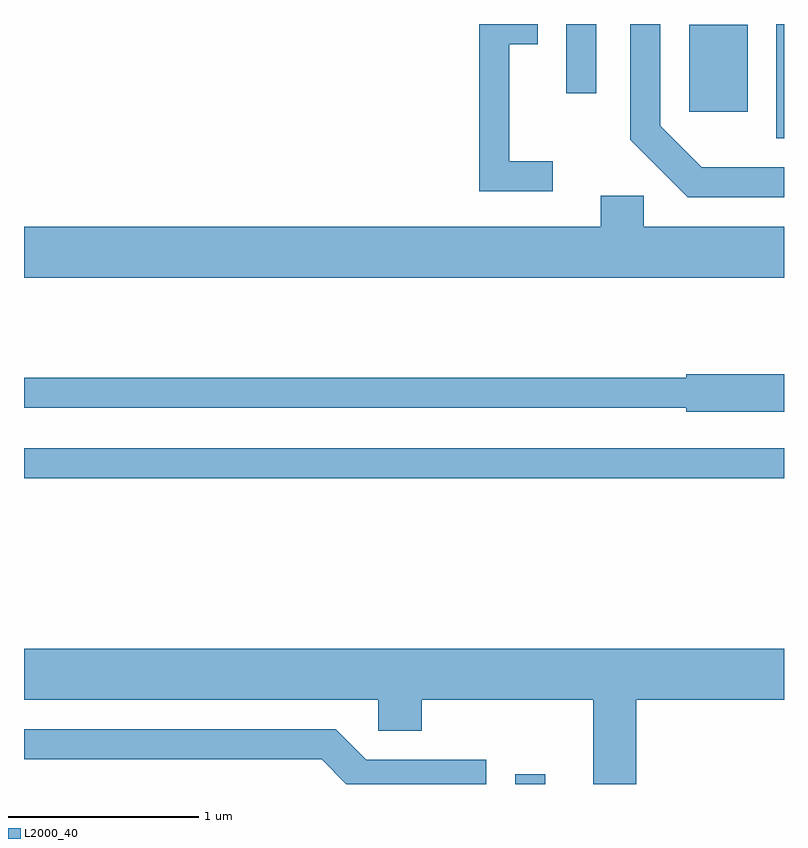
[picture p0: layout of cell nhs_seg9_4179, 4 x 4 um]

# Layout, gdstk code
import gdstk
lib = gdstk.Library(unit=1e-6, precision=1e-09)
def R(c, l, rs):  # rectangles x0, y0, x1, y1
    for r in rs: c.add(gdstk.rectangle(r[:2], r[2:], *l))
def P(c, l, *ps):  # polygons
    for p in ps: c.add(gdstk.Polygon(p, *l))
L2000_40 = (2000, 40)

nhs_seg9_4179 = lib.new_cell('nhs_seg9_4179')
R(nhs_seg9_4179, L2000_40, [(310.196,2042.432,310.354,2042.483), (307.611,2044.041,311.611,2044.199), (311.571,2045.831,311.611,2046.432), (311.111,2045.971,311.419,2046.429), (310.466,2046.068,310.624,2046.432)])
P(nhs_seg9_4179, L2000_40, [(310.393,2045.709),(310.164,2045.709),(310.164,2046.326),(310.314,2046.326),(310.314,2046.432),(310.006,2046.432),(310.006,2045.551),(310.393,2045.551)],
  [(311.611,2045.679),(311.177,2045.679),(310.959,2045.897),(310.959,2046.432),(310.801,2046.432),(310.801,2045.824),(311.104,2045.521),(311.611,2045.521)],
  [(311.611,2045.364),(310.874,2045.364),(310.874,2045.529),(310.646,2045.529),(310.646,2045.364),(307.611,2045.364),(307.611,2045.096),(311.611,2045.096)],
  [(311.611,2044.589),(311.096,2044.589),(311.096,2044.569),(307.611,2044.569),(307.611,2044.411),(311.096,2044.411),(311.096,2044.391),(311.611,2044.391)],
  [(310.834,2042.876),(311.611,2042.876),(311.611,2043.144),(307.611,2043.144),(307.611,2042.876),(309.476,2042.876),(309.476,2042.711),(309.704,2042.711),(309.704,2042.876),(310.606,2042.876),(310.606,2042.432),(310.834,2042.432)],
  [(310.044,2042.559),(309.412,2042.559),(309.252,2042.719),(307.611,2042.719),(307.611,2042.561),(309.179,2042.561),(309.308,2042.432),(310.044,2042.432)])

lib.write_gds('nhs_seg9_4179.gds')
